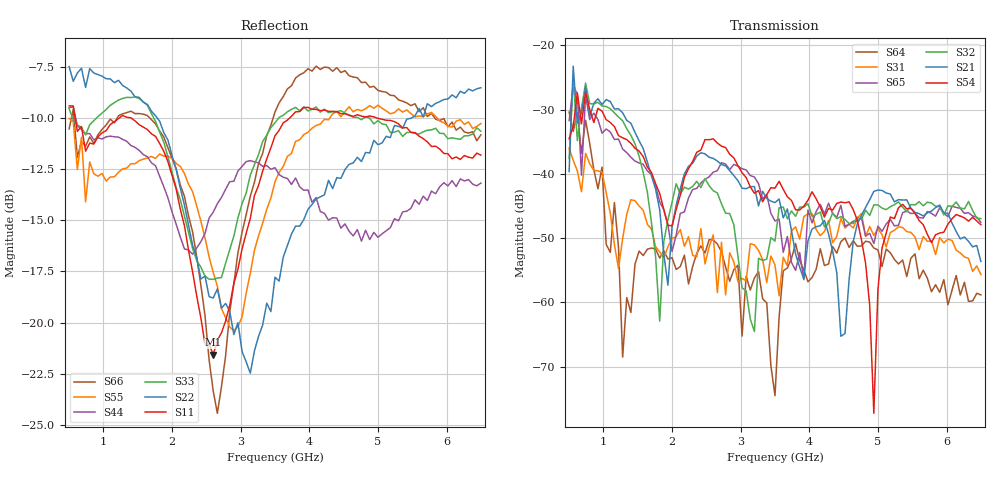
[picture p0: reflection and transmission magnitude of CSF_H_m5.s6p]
!Keysight Technologies,M9804A,MY58100912,A.14.10.03
!Date: Thursday, April 27, 2023 10:28:33
!Correction: S11(C  6-Port  )
!S12(C  6-Port  )
!S13(C  6-Port  )
!S14(C  6-Port  )
!S15(C  6-Port  )
!S16(C  6-Port  )
!S21(C  6-Port  )
!S22(C  6-Port  )
!S23(C  6-Port  )
!S24(C  6-Port  )
!S25(C  6-Port  )
!S26(C  6-Port  )
!S31(C  6-Port  )
!S32(C  6-Port  )
!S33(C  6-Port  )
!S34(C  6-Port  )
!S35(C  6-Port  )
!S36(C  6-Port  )
!S41(C  6-Port  )
!S42(C  6-Port  )
!S43(C  6-Port  )
!S44(C  6-Port  )
!S45(C  6-Port  )
!S46(C  6-Port  )
!S51(C  6-Port  )
!S52(C  6-Port  )
!S53(C  6-Port  )
!S54(C  6-Port  )
!S55(C  6-Port  )
!S56(C  6-Port  )
!S61(C  6-Port  )
!S62(C  6-Port  )
!S63(C  6-Port  )
!S64(C  6-Port  )
!S65(C  6-Port  )
!S66(C  6-Port  )
!S6P File: Measurement: :
# Hz S  RI  R 50
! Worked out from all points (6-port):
!   101 points, 500 MHz to 6.5 GHz, reference 50 ohm
!   strongest paths, dB at 500 MHz, 2 GHz, 3.5 GHz, 5 GHz, 6.5 GHz:
!     S54: -34.5, -48.1, -42.2, -57.9, -47.9
!     S21: -39.6, -48.2, -44.5, -42.5, -53.6
!     S32: -37.6, -44.4, -50.5, -44.8, -47.0
!     S65: -31.7, -52.1, -47.3, -48.1, -47.5
!     S31: -36.0, -50.0, -54.2, -48.5, -55.6
!     S64: -30.4, -53.0, -74.5, -51.8, -58.8
!   lowest |S11| = -21.6 dB at 2.6 GHz (marker M1), VSWR 1.18, Z = 42.6 + j2.05 ohm
!   |S11| at or under -10 dB: 588.1 MHz to 1.234 GHz (646.4 MHz wide, 70.9 % of centre); 1.4 GHz to 3.716 GHz (2.316 GHz wide, 90.6 % of centre); 4.976 GHz to end of sweep
